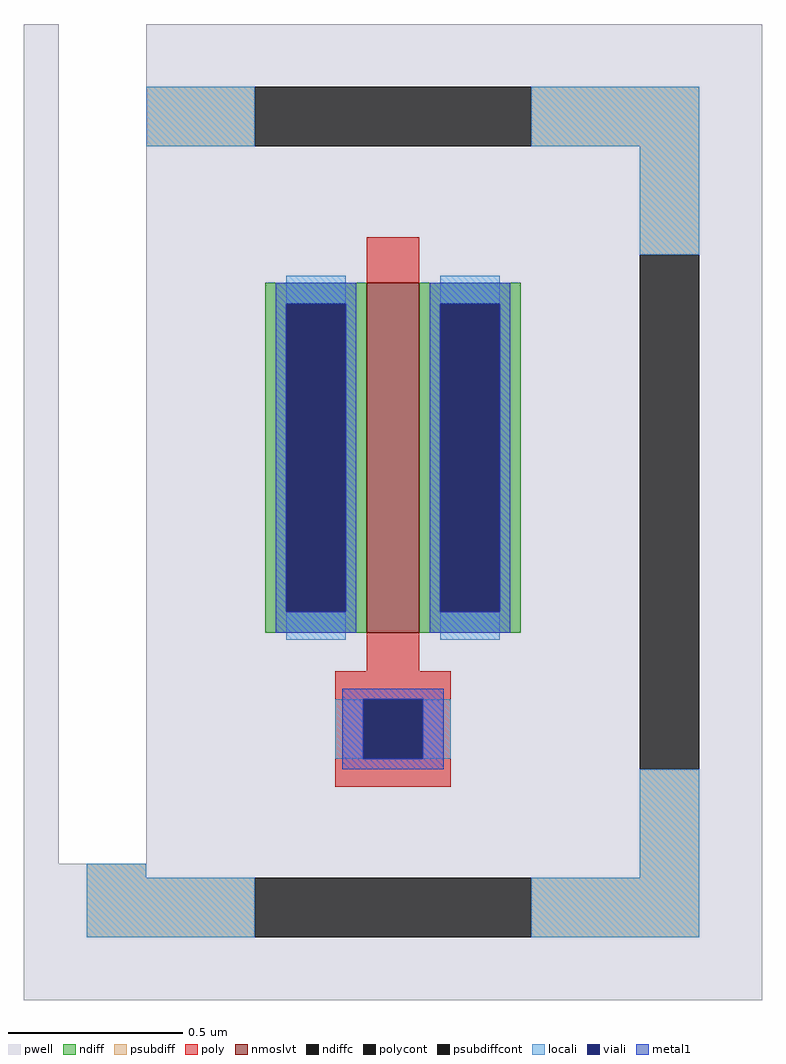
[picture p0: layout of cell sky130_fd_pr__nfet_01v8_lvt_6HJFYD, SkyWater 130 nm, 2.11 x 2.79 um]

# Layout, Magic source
magic
tech sky130A
magscale 1 2
<< pwell >>
rect -211 -201 -191 279
rect -141 -201 211 279
rect -211 -279 211 -201
<< nmoslvt >>
rect -15 -69 15 131
<< ndiff >>
rect -73 119 -15 131
rect -73 -57 -61 119
rect -27 -57 -15 119
rect -73 -69 -15 -57
rect 15 119 73 131
rect 15 -57 27 119
rect 61 -57 73 119
rect 15 -69 73 -57
<< ndiffc >>
rect -61 -57 -27 119
rect 27 -57 61 119
<< psubdiff >>
rect -141 209 -79 243
rect 79 209 175 243
rect 141 147 175 209
rect -175 -209 -141 -201
rect 141 -209 175 -147
rect -175 -243 -79 -209
rect 79 -243 175 -209
<< psubdiffcont >>
rect -79 209 79 243
rect 141 -147 175 147
rect -79 -243 79 -209
<< poly >>
rect -15 131 15 157
rect -15 -91 15 -69
rect -33 -107 33 -91
rect -33 -141 -17 -107
rect 17 -141 33 -107
rect -33 -157 33 -141
<< polycont >>
rect -17 -141 17 -107
<< locali >>
rect -141 209 -79 243
rect 79 209 175 243
rect 141 147 175 209
rect -61 119 -27 135
rect -61 -73 -27 -57
rect 27 119 61 135
rect 27 -73 61 -57
rect -33 -141 -17 -107
rect 17 -141 33 -107
rect -175 -209 -141 -201
rect 141 -209 175 -147
rect -175 -243 -79 -209
rect 79 -243 175 -209
<< viali >>
rect -61 -57 -27 119
rect 27 -57 61 119
rect -17 -141 17 -107
<< metal1 >>
rect -67 119 -21 131
rect -67 -57 -61 119
rect -27 -57 -21 119
rect -67 -69 -21 -57
rect 21 119 67 131
rect 21 -57 27 119
rect 61 -57 67 119
rect 21 -69 67 -57
rect -29 -107 29 -101
rect -29 -141 -17 -107
rect 17 -141 29 -107
rect -29 -147 29 -141
<< properties >>
string FIXED_BBOX -158 -226 158 226
string gencell sky130_fd_pr__nfet_01v8_lvt
string library sky130
string parameters w 1 l 0.150 m 1 nf 1 diffcov 100 polycov 100 guard 1 glc 1 grc 1 gtc 1 gbc 1 tbcov 100 rlcov 100 topc 0 botc 1 poverlap 0 doverlap 1 lmin 0.15 wmin 0.42 compatible {sky130_fd_pr__nfet_01v8 sky130_fd_pr__nfet_01v8_lvt  sky130_fd_bs_flash__special_sonosfet_star  sky130_fd_pr__nfet_g5v0d10v5 sky130_fd_pr__nfet_05v0_nvt  sky130_fd_pr__nfet_03v3_nvt} full_metal 1 viasrc 100 viadrn 100 viagate 100 viagb 0 viagr 0 viagl 0 viagt 0
<< end >>
